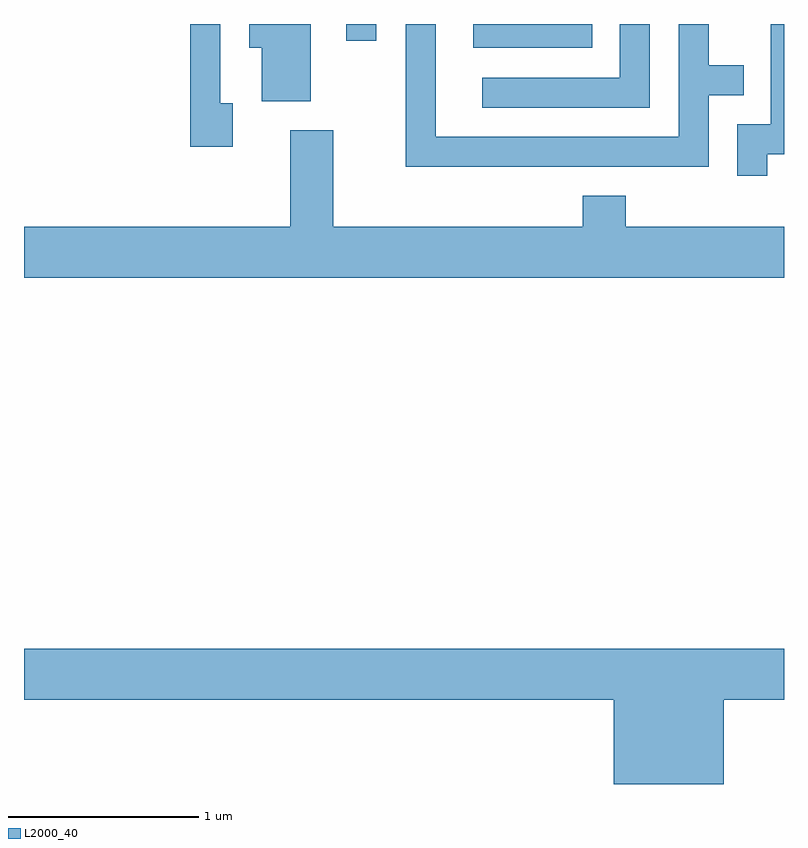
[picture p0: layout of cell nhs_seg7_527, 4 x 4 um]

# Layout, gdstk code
import gdstk
lib = gdstk.Library(unit=1e-6, precision=1e-09)
def R(c, l, rs):  # rectangles x0, y0, x1, y1
    for r in rs: c.add(gdstk.rectangle(r[:2], r[2:], *l))
def P(c, l, *ps):  # polygons
    for p in ps: c.add(gdstk.Polygon(p, *l))
L2000_40 = (2000, 40)

nhs_seg7_527 = lib.new_cell('nhs_seg7_527')
R(nhs_seg7_527, L2000_40, [(201.976,1782.126,202.603,1782.252), (201.306,1782.163,201.464,1782.252)])
P(nhs_seg7_527, L2000_40, [(201.119,1782.252),(200.796,1782.252),(200.796,1782.126),(200.861,1782.126),(200.861,1781.846),(201.119,1781.846)],
  [(203.214,1781.876),(203.398,1781.876),(203.398,1782.034),(203.214,1782.034),(203.214,1782.252),(203.056,1782.252),(203.056,1781.659),(201.779,1781.659),(201.779,1782.252),(201.621,1782.252),(201.621,1781.501),(203.214,1781.501)],
  [(202.904,1782.252),(202.746,1782.252),(202.746,1781.969),(202.023,1781.969),(202.023,1781.811),(202.904,1781.811)],
  [(203.524,1781.566),(203.611,1781.566),(203.611,1782.252),(203.541,1782.252),(203.541,1781.724),(203.366,1781.724),(203.366,1781.453),(203.524,1781.453)],
  [(200.709,1781.834),(200.644,1781.834),(200.644,1782.252),(200.486,1782.252),(200.486,1781.606),(200.709,1781.606)],
  [(203.611,1781.184),(202.779,1781.184),(202.779,1781.349),(202.551,1781.349),(202.551,1781.184),(201.239,1781.184),(201.239,1781.694),(201.011,1781.694),(201.011,1781.184),(199.611,1781.184),(199.611,1780.916),(203.611,1780.916)],
  [(203.294,1778.696),(203.611,1778.696),(203.611,1778.964),(199.611,1778.964),(199.611,1778.696),(202.716,1778.696),(202.716,1778.252),(203.294,1778.252)])

lib.write_gds('nhs_seg7_527.gds')
